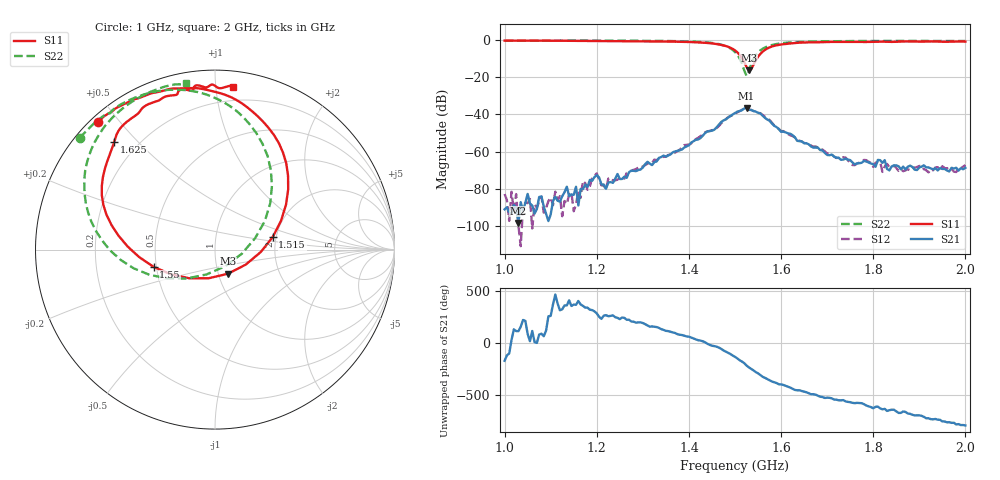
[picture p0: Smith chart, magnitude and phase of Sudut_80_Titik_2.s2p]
# Hz S RI R 50
! CMT, C1220, 16058040, 17.2.0/1
! Date: 14/08/2018 12:45:57
! Data: Format (Calibration Info)
! Freq  S11: Re/Im (F2)  S21: Re/Im (F2)  S12: Re/Im (F2)  S22: Re/Im (F2)
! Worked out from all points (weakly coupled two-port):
!   201 points, 1 GHz to 2 GHz, reference 50 ohm
!   highest |S21| = -36.52 dB at 1.525 GHz (marker M1); lowest = -98.5 dB at 1.03 GHz (marker M2)
!   lowest |S11| = -16.3 dB at 1.53 GHz (marker M3), VSWR 1.36, Z = 55.6 - j15.3 ohm
!   |S11| at or under -10 dB: 1.516 GHz to 1.547 GHz (31.66 MHz wide, 2.07 % of centre)
!   |S22| runs from -19.2 to -0.2 dB; largest |S21 - S12| = 0.00064
!   S11 on the Smith chart (normalised r, x): 1 GHz: 0.02, +0.44; 1.515 GHz: 1.92, +0.30; 1.55 GHz: 0.48, -0.11; 1.625 GHz: 0.12, +0.43; 2 GHz: 0.10, +1.11
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1e9  -0.651 0.7129  -2.76e-05 -4.34e-06  6.73e-05 2.5e-05  -0.7536 0.6213
1.03e9  -0.6267 0.7353  -5.11e-06 1.07e-05  9.85e-06 -1.96e-06  -0.734 0.6436
1.165e9  -0.4868 0.8204  9.57e-05 2.32e-05  5.61e-05 -9.43e-06  -0.6238 0.7433
1.17e9  -0.4805 0.8235  9.71e-05 4.44e-07  0.000161 2.28e-06  -0.6184 0.7466
1.18e9  -0.4653 0.8308  0.000107 -3.33e-05  9.3e-05 -1.06e-05  -0.6074 0.7529
1.2e9  -0.438 0.8402  6.89e-05 -0.00022  4.18e-05 -0.000256  -0.5851 0.7599
1.22e9  -0.4157 0.8474  1.02e-06 -0.0001  -2.85e-05 -9.34e-05  -0.5739 0.7738
1.225e9  -0.4076 0.8505  -2.44e-05 -0.000144  1.89e-05 -0.000185  -0.5689 0.779
1.335e9  -0.2176 0.8973  -0.000568 0.000369  -0.000484 0.000438  -0.4041 0.8616
1.45e9  0.1809 0.7918  0.0033 -0.00155  0.00331 -0.00176  0.0182 0.8366
1.5e9  0.4078 0.3361  -0.00738 -0.00793  -0.00701 -0.00741  0.3173 0.3558
1.515e9  0.3216 0.0699  -0.013 -0.000343  -0.0131 -0.000734  0.2234 0.0636
1.525e9  0.1712 -0.0836  -0.0119 0.00895  -0.0121 0.00894  0.0585 -0.092
1.53e9  0.0723 -0.1344  -0.00773 0.0108  -0.00784 0.0109  -0.0475 -0.1385
1.55e9  -0.3419 -0.0962  0.00419 0.0102  0.0038 0.0103  -0.4528 -0.1044
1.58e9  -0.6223 0.2505  0.00561 -0.00111  0.00582 -0.00139  -0.7075 0.2089
1.625e9  -0.5613 0.6012  0.000422 -0.00274  0.000474 -0.00256  -0.7035 0.5174
1.67e9  -0.4455 0.7453  -0.000887 -0.000919  -0.000913 -0.000995  -0.6278 0.6683
1.76e9  -0.2649 0.8554  -0.000341 0.000295  -0.000348 0.000255  -0.486 0.8076
1.825e9  -0.1579 0.8902  6.72e-05 0.000583  0.000173 0.000357  -0.3949 0.8619
1.835e9  -0.1354 0.8854  0.000101 0.000295  0.000127 0.000359  -0.3817 0.8689
2e9  0.1017 0.9056  8.36e-05 -0.000357  7.85e-05 -0.000428  -0.1597 0.9299
